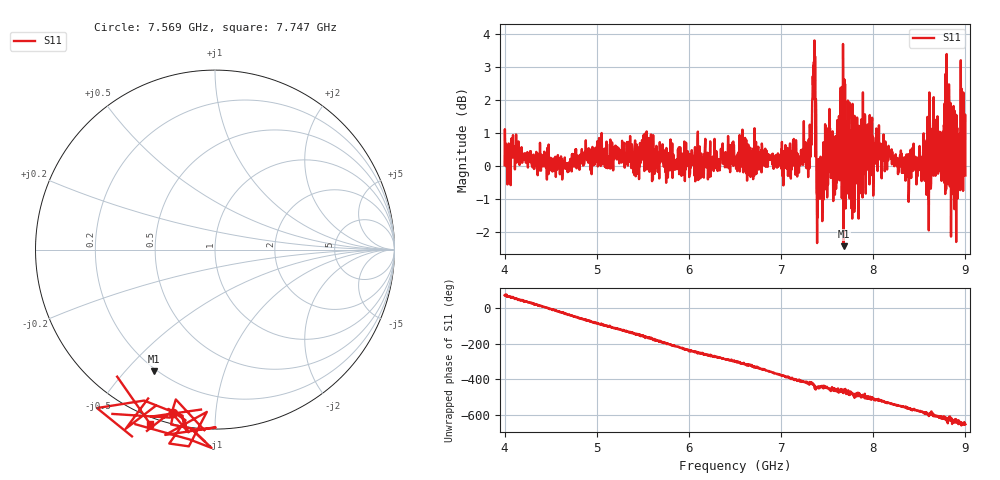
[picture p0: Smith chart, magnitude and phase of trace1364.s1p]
! Created with skrf 1.8.0 (http://scikit-rf.org).
# Hz S RI R 50.0
!freq ReS11 ImS11
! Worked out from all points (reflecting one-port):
!   1601 points, 4 GHz to 9 GHz, reference 50 ohm
!   lowest |S11| = -2.4 dB at 7.678 GHz (marker M1), VSWR 7.24, Z = 9.48 - j30.1 ohm
!   phase of S11 starts at 73 deg and turns -726 deg over the sweep
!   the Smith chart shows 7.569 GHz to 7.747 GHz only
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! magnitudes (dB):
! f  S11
! 4 GHz  0.0
! 4.625 GHz  -0.4
! 5.25 GHz  0.3
! 5.875 GHz  0.1
! 6.5 GHz  0.2
! 7.125 GHz  0.5
! 7.294 GHz  -0.3
! 7.356 GHz  3.1
! 7.409 GHz  -0.1
! 7.538 GHz  0.9
! 7.591 GHz  0.9
! 7.65 GHz  1.9
! 7.669 GHz  0.8
! 7.678 GHz  -2.4
! 7.75 GHz  1.1
! 7.784 GHz  -1.4
! 7.8 GHz  -1.2
! 7.859 GHz  0.8
! 7.928 GHz  1.0
! 8.375 GHz  -0.1
! 8.562 GHz  -0.2
! 8.578 GHz  -0.9
! 8.631 GHz  1.0
! 8.725 GHz  0.2
! 8.816 GHz  0.5
! 8.856 GHz  -0.1
! 8.972 GHz  0.8
! 9 GHz  -0.3
